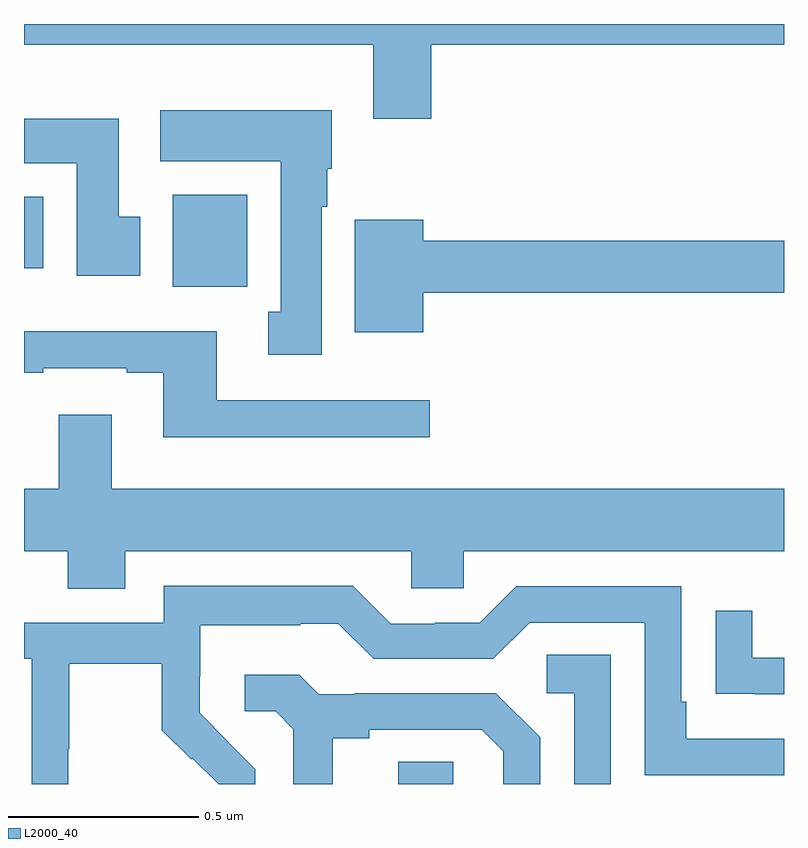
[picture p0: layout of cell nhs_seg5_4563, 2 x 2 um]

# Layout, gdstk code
import gdstk
lib = gdstk.Library(unit=1e-6, precision=1e-09)
def R(c, l, rs):  # rectangles x0, y0, x1, y1
    for r in rs: c.add(gdstk.rectangle(r[:2], r[2:], *l))
def P(c, l, *ps):  # polygons
    for p in ps: c.add(gdstk.Polygon(p, *l))
L2000_40 = (2000, 40)

nhs_seg5_4563 = lib.new_cell('nhs_seg5_4563')
R(nhs_seg5_4563, L2000_40, [(172.985,870.799,173.13,870.857), (172.391,872.108,172.588,872.35), (172,872.156,172.051,872.344)])
P(nhs_seg5_4563, L2000_40, [(173.072,872.744),(174,872.744),(174,872.799),(172,872.799),(172,872.744),(172.919,872.744),(172.919,872.55),(173.072,872.55)],
  [(172.783,872.318),(172.798,872.318),(172.798,872.418),(172.81,872.418),(172.81,872.572),(172.359,872.572),(172.359,872.438),(172.676,872.438),(172.676,872.042),(172.643,872.042),(172.643,871.929),(172.783,871.929)],
  [(172.306,872.292),(172.249,872.292),(172.249,872.55),(172.001,872.55),(172.001,872.432),(172.139,872.432),(172.139,872.136),(172.306,872.136)],
  [(173.05,872.092),(174,872.092),(174,872.228),(173.05,872.228),(173.05,872.284),(172.871,872.284),(172.871,871.988),(173.05,871.988)],
  [(173.068,871.809),(172.507,871.809),(172.507,871.99),(172,871.99),(172,871.881),(172.051,871.881),(172.051,871.893),(172.271,871.893),(172.271,871.881),(172.367,871.881),(172.367,871.712),(173.068,871.712)],
  [(172.267,871.412),(173.019,871.412),(173.019,871.314),(173.157,871.314),(173.157,871.412),(174,871.412),(174,871.576),(172.231,871.576),(172.231,871.771),(172.091,871.771),(172.091,871.576),(172,871.576),(172,871.412),(172.115,871.412),(172.115,871.313),(172.267,871.313)],
  [(172.116,870.892),(172.119,870.892),(172.119,871.116),(172.363,871.116),(172.363,870.941),(172.44,870.864),(172.443,870.867),(172.512,870.799),(172.608,870.799),(172.608,870.838),(172.535,870.911),(172.536,870.912),(172.462,870.986),(172.462,871.083),(172.464,871.083),(172.464,871.217),(172.727,871.217),(172.727,871.221),(172.827,871.221),(172.92,871.128),(173.235,871.128),(173.331,871.224),(173.634,871.224),(173.634,870.822),(174,870.822),(174,870.918),(173.743,870.918),(173.743,871.015),(173.73,871.015),(173.73,871.32),(173.295,871.32),(173.199,871.224),(173.081,871.224),(173.081,871.221),(172.965,871.221),(172.865,871.321),(172.368,871.321),(172.368,871.224),(172,871.224),(172,871.128),(172.02,871.128),(172.02,870.799),(172.116,870.799)],
  [(174,871.131),(173.917,871.131),(173.917,871.255),(173.821,871.255),(173.821,871.036),(173.923,871.036),(173.923,871.035),(174,871.035)],
  [(173.544,871.139),(173.376,871.139),(173.376,871.038),(173.448,871.038),(173.448,870.799),(173.544,870.799)],
  [(172.813,870.92),(172.909,870.92),(172.909,870.942),(173.204,870.942),(173.261,870.885),(173.261,870.799),(173.358,870.799),(173.358,870.922),(173.242,871.038),(172.87,871.038),(172.87,871.035),(172.776,871.035),(172.724,871.087),(172.581,871.087),(172.581,870.99),(172.662,870.99),(172.709,870.943),(172.709,870.799),(172.813,870.799)])

lib.write_gds('nhs_seg5_4563.gds')
